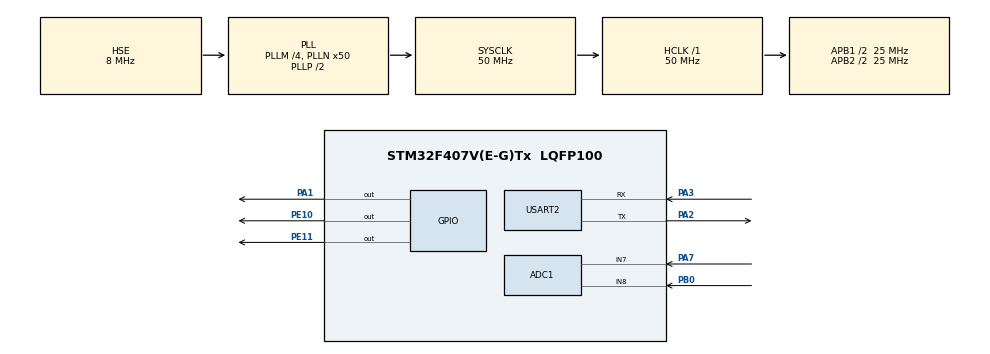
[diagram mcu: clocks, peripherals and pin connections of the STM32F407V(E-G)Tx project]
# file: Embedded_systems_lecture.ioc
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ADC1.Channel-0\#ChannelRegularConversion=ADC_CHANNEL_7
ADC1.Channel-2\#ChannelRegularConversion=ADC_CHANNEL_7
ADC1.ContinuousConvMode=ENABLE
ADC1.EOCSelection=ADC_EOC_SINGLE_CONV
ADC1.NbrOfConversion=2
ADC1.NbrOfConversionFlag=1
ADC1.Rank-0\#ChannelRegularConversion=1
ADC1.Rank-2\#ChannelRegularConversion=2
ADC1.SamplingTime-0\#ChannelRegularConversion=ADC_SAMPLETIME_144CYCLES
ADC1.SamplingTime-2\#ChannelRegularConversion=ADC_SAMPLETIME_3CYCLES
ADC1.master=1
Mcu.Family=STM32F4
Mcu.Name=STM32F407V(E-G)Tx
Mcu.Package=LQFP100
NVIC.ADC_IRQn=true\:2\:0\:true\:false\:true\:true\:true\:true
NVIC.PriorityGroup=NVIC_PRIORITYGROUP_4
NVIC.TIM7_IRQn=true\:0\:0\:false\:false\:true\:true\:true\:true
NVIC.USART2_IRQn=true\:1\:0\:true\:false\:true\:true\:true\:true
PA1.GPIO_PuPd=GPIO_PULLDOWN
PA1.Signal=GPIO_Output
PA2.Mode=Asynchronous
PA2.Signal=USART2_TX
PA3.Mode=Asynchronous
PA3.Signal=USART2_RX
PA7.Signal=ADCx_IN7
PB0.Signal=ADCx_IN8
PE10.Signal=GPIO_Output
PE11.Signal=GPIO_Output
PH0-OSC_IN.Mode=HSE-External-Oscillator
PH0-OSC_IN.Signal=RCC_OSC_IN
PH1-OSC_OUT.Mode=HSE-External-Oscillator
PH1-OSC_OUT.Signal=RCC_OSC_OUT
ProjectManager.HeapSize=0x200
ProjectManager.StackSize=0x400
ProjectManager.TargetToolchain=STM32CubeIDE
RCC.48MHZClocksFreq_Value=25000000
RCC.AHBFreq_Value=50000000
RCC.APB1CLKDivider=RCC_HCLK_DIV2
RCC.APB1Freq_Value=25000000
RCC.APB1TimFreq_Value=50000000
RCC.APB2CLKDivider=RCC_HCLK_DIV2
RCC.APB2Freq_Value=25000000
RCC.APB2TimFreq_Value=50000000
RCC.CortexFreq_Value=50000000
RCC.HCLKFreq_Value=50000000
RCC.HSE_VALUE=8000000
RCC.HSI_VALUE=16000000
RCC.LSE_VALUE=32768
RCC.PLLM=4
RCC.PLLN=50
RCC.PLLSourceVirtual=RCC_PLLSOURCE_HSE
RCC.SYSCLKFreq_VALUE=50000000
RCC.SYSCLKSource=RCC_SYSCLKSOURCE_PLLCLK
RCC.VCOOutputFreq_Value=100000000
SH.ADCx_IN7.0=ADC1_IN7,IN7
SH.ADCx_IN8.0=ADC1_IN8,IN8
TIM6.Period=0xffff-1
TIM6.Prescaler=50-1
TIM7.Period=50000-1
TIM7.Prescaler=60000-1
USART2.VirtualMode=VM_ASYNC
VP_TIM6_VS_ClockSourceINT.Mode=Enable_Timer
VP_TIM7_VS_ClockSourceINT.Mode=Enable_Timer
board=custom

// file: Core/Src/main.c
/* USER CODE BEGIN Header */
/**
  ******************************************************************************
  * @file           : main.c
  * @brief          : Main program body
  ******************************************************************************
  * @attention
  *
  * Copyright (c) 2025 STMicroelectronics.
  * All rights reserved.
  *
  * This software is licensed under terms that can be found in the LICENSE file
  * in the root directory of this software component.
  * If no LICENSE file comes with this software, it is provided AS-IS.
  *
  ******************************************************************************
  */
/* USER CODE END Header */
#include "main.h"

ADC_HandleTypeDef hadc1;

TIM_HandleTypeDef htim6;
TIM_HandleTypeDef htim7;

UART_HandleTypeDef huart2;

/* USER CODE BEGIN PV */
uint8_t Rx_data[8];
uint8_t watering_time;
uint8_t instant_watering_time = 1;
uint8_t waiting_time;
char message[3];
uint32_t channel1, channel2;
/* USER CODE END PV */

void SystemClock_Config(void);
static void MX_GPIO_Init(void);
static void MX_TIM6_Init(void);
static void MX_USART2_UART_Init(void);
static void MX_ADC1_Init(void);
static void MX_TIM7_Init(void);

/* USER CODE BEGIN 0 */
/* Mikrosaniye mertebesinde bekleme yapan fonksiyonu tanimla */
void delay (uint16_t time)
{
	/* Timer sayacini sifirla */
	__HAL_TIM_SET_COUNTER(&htim6, 0);
	/* Sayac fonksiyona girilen degere ulasana kadar bekle */
	while ((__HAL_TIM_GET_COUNTER(&htim6))<time);
}

/* DHT sensorundan gelen verileri okumak icin degiskenleri olustur */
uint8_t Rh_byte1, Rh_byte2, Temp_byte1, Temp_byte2;
uint16_t SUM, RH, TEMP;

float Temperature = 0;
float Humidity = 0;
uint8_t Presence = 0;

/* Istenilen pini output olarak ayarlamak icin gerekli fonksiyonu tanimla */
void Set_Pin_Output (GPIO_TypeDef *GPIOx, uint16_t GPIO_Pin)
{
	GPIO_InitTypeDef GPIO_InitStruct = {0};
	GPIO_InitStruct.Pin = GPIO_Pin;
	GPIO_InitStruct.Mode = GPIO_MODE_OUTPUT_PP;
	GPIO_InitStruct.Speed = GPIO_SPEED_FREQ_LOW;
	HAL_GPIO_Init(GPIOx, &GPIO_InitStruct);
}

/* Istenilen pini input olarak ayarlamak icin gerekli fonksiyonu tanimla */
void Set_Pin_Input (GPIO_TypeDef *GPIOx, uint16_t GPIO_Pin)
{
	GPIO_InitTypeDef GPIO_InitStruct = {0};
	GPIO_InitStruct.Pin = GPIO_Pin;
	GPIO_InitStruct.Mode = GPIO_MODE_INPUT;
	GPIO_InitStruct.Pull = GPIO_NOPULL;
	HAL_GPIO_Init(GPIOx, &GPIO_InitStruct);
}

/* DHT sicaklik ve nem sensorunun bagli oldugu pin ve portu tanimla */
#define DHT11_PORT GPIOA
#define DHT11_PIN GPIO_PIN_1

/* DHT sensorunun yanit vermesi icin gerekli verileri gonderecek fonksiyonu tanimla */
void DHT11_Start (void)
{
	/* DHT ye bagli pini output olarak ayarla */
	Set_Pin_Output (DHT11_PORT, DHT11_PIN);
	/* Pine logic low degeri gonder */
	HAL_GPIO_WritePin (DHT11_PORT, DHT11_PIN, 0);
	/* DHT satasheet inde belirtildigi uzere 18ms bekle */
	delay (18000);
	/* Pine logic high degeri gonder */
    HAL_GPIO_WritePin (DHT11_PORT, DHT11_PIN, 1);
    /* 20 mikrosaniye bekle */
	delay (20);
	/* DHT ye bagli pini input olarak ayarla */
	Set_Pin_Input(DHT11_PORT, DHT11_PIN);
}

/* DHT sensorunun yanitini kontrol edecek fonksiyonu tanimla */
uint8_t DHT11_Check_Response (void)
{
	uint8_t Response = 0;
	/* 40 mikrosaniye bekle */
	delay (40);
	/* Pin degeri logic low olursa asagida verilenleri yap */
	if (!(HAL_GPIO_ReadPin (DHT11_PORT, DHT11_PIN)))
	{
		/* 80 mikrosaniye bekle */
		delay (80);
		/* Alinan yaniti degiskene kaydet */
		if ((HAL_GPIO_ReadPin (DHT11_PORT, DHT11_PIN))) Response = 1;
		else Response = -1;
	}
	/* Pin degeri logic low olana kadar bekle */
	while ((HAL_GPIO_ReadPin (DHT11_PORT, DHT11_PIN)));

	/* Yanit degerini geri dondur */
	return Response;
}

/* DHT sensorunden gelen verileri okuyacak fonksiyonu tanimla */
uint8_t DHT11_Read (void)
{
	/* Gerekli degiskenleri tanimla */
	uint8_t i,j;
	for (j=0;j<8;j++)
	{
		/* Pin degeri logic low olana kadar bekle */
		while (!(HAL_GPIO_ReadPin (DHT11_PORT, DHT11_PIN)));
		/* 40 mikrosaniye bekle */
		delay (40);
		/* Pin degeri logic low olursa asagida verilenleri yap */
		if (!(HAL_GPIO_ReadPin (DHT11_PORT, DHT11_PIN)))
		{
			/* Logic low degeri geldiginde dongu degerine gore biti kaydirip logic and ile kaydet */
			i&= ~(1<<(7-j));
		}
		/* Logic high degeri geldiginde dongu degerine gore biti kaydirip logic or ile kaydet */
		else i|= (1<<(7-j));
		/* Pin degeri logic high olana kadar bekle */
		while ((HAL_GPIO_ReadPin (DHT11_PORT, DHT11_PIN)));
	}
	/* Elde edilen degeri geri dondur */
	return i;
}
/* USER CODE END 0 */

int main(void)
{

  /* MCU Configuration--------------------------------------------------------*/

  /* Reset of all peripherals, Initializes the Flash interface and the Systick. */
  HAL_Init();

  /* Configure the system clock */
  SystemClock_Config();

  /* Initialize all configured peripherals */
  MX_GPIO_Init();
  MX_TIM6_Init();
  MX_USART2_UART_Init();
  MX_ADC1_Init();
  MX_TIM7_Init();
  /* USER CODE BEGIN 2 */
  /* Timer, uart kesmesi ve adc kesmesini baslat */
  HAL_TIM_Base_Start(&htim6);
  HAL_UART_Receive_IT(&huart2, Rx_data, 3);
  HAL_ADC_Start_IT(&hadc1);

  /* Role pinlerini logic high seviyesine al */
  HAL_GPIO_WritePin(GPIOE, GPIO_PIN_10|GPIO_PIN_11, GPIO_PIN_SET);

  /* USER CODE END 2 */

  /* Infinite loop */
  while (1)
  {

    /* USER CODE BEGIN 3 */
	    /* DHT sensorunu baslat */
	    DHT11_Start();
	    /* Sensor yanitini kontrol et */
	    Presence = DHT11_Check_Response();
	    /* Gelen sicaklik ve nem degerlerini degiskenlere kaydet */
	    Rh_byte1 = DHT11_Read ();
	    Rh_byte2 = DHT11_Read ();
	    Temp_byte1 = DHT11_Read ();
	    Temp_byte2 = DHT11_Read ();

	    /* 1,5sn bekle */
	   	HAL_Delay(1500);

	   	/* Gonderilen verilerin anlasilmasi icin basina veriye ozel byte degeri ekle */
		message[0] = 123;
		/* Integer bolmesi yaparak iki basamakli degerin onlar basamagini diziye kaydet */
		message[1] = (channel1 / 10);
		/* Mod alarak iki basamakli degerin onlar basamagini diziye kaydet */
		message[2] = (channel1 % 10);

		/* 1,5sn bekle */
		HAL_Delay(1500);

		/* Diziyi UART ile ESP tarafina gonder */
		HAL_UART_Transmit(&huart2, (uint8_t*)message, 3, HAL_MAX_DELAY);

		/* Gonderilen verilerin anlasilmasi icin basina veriye ozel byte degeri ekle */
		message[0] = 124;
		/* Integer bolmesi yaparak iki basamakli degerin onlar basamagini diziye kaydet */
		message[1] = (channel2 / 10);
		/* Mod alarak iki basamakli degerin onlar basamagini diziye kaydet */
		message[2] = (channel2 % 10);

		/* Diziyi UART ile ESP tarafina gonder */
		HAL_UART_Transmit(&huart2, (uint8_t*)message, 3, HAL_MAX_DELAY);

		/* 1,5sn bekle */
	   	HAL_Delay(1500);
	   	HAL_ADC_Start_IT(&hadc1);

	   	/* Gonderilen verilerin anlasilmasi icin basina veriye ozel byte degeri ekle */
	   	message[0] = 125;
	   	/* Integer bolmesi yaparak iki basamakli degerin onlar basamagini diziye kaydet */
	   	message[1] = (Rh_byte1 / 10);
	   	/* Mod alarak iki basamakli degerin onlar basamagini diziye kaydet */
	   	message[2] = (Rh_byte1 % 10);

	   	/* 1,5sn bekle */
	   	HAL_Delay(1500);

	   	/* Diziyi UART ile ESP tarafina gonder */
	   	HAL_UART_Transmit(&huart2, (uint8_t*)message, 3, HAL_MAX_DELAY);

	   	/* Gonderilen verilerin anlasilmasi icin basina veriye ozel byte degeri ekle */
		message[0] = 126;
		/* Integer bolmesi yaparak iki basamakli degerin onlar basamagini diziye kaydet */
		message[1] = (Temp_byte1 / 10);
		/* Mod alarak iki basamakli degerin onlar basamagini diziye kaydet */
		message[2] = (Temp_byte1 % 10);

		/* Diziyi UART ile ESP tarafina gonder */
	    HAL_UART_Transmit(&huart2, (uint8_t*)message, 3, HAL_MAX_DELAY);

	    /* UART kesmesini tekrardan aktiflestir */
	    HAL_UART_Receive_IT(&huart2, Rx_data, 3);
  }
  /* USER CODE END 3 */
}

void SystemClock_Config(void)
{
  RCC_OscInitTypeDef RCC_OscInitStruct = {0};
  RCC_ClkInitTypeDef RCC_ClkInitStruct = {0};

  /** Configure the main internal regulator output voltage
  */
  __HAL_RCC_PWR_CLK_ENABLE();
  __HAL_PWR_VOLTAGESCALING_CONFIG(PWR_REGULATOR_VOLTAGE_SCALE1);

  /** Initializes the RCC Oscillators according to the specified parameters
  * in the RCC_OscInitTypeDef structure.
  */
  RCC_OscInitStruct.OscillatorType = RCC_OSCILLATORTYPE_HSE;
  RCC_OscInitStruct.HSEState = RCC_HSE_ON;
  RCC_OscInitStruct.PLL.PLLState = RCC_PLL_ON;
  RCC_OscInitStruct.PLL.PLLSource = RCC_PLLSOURCE_HSE;
  RCC_OscInitStruct.PLL.PLLM = 4;
  RCC_OscInitStruct.PLL.PLLN = 50;
  RCC_OscInitStruct.PLL.PLLP = RCC_PLLP_DIV2;
  RCC_OscInitStruct.PLL.PLLQ = 4;
  if (HAL_RCC_OscConfig(&RCC_OscInitStruct) != HAL_OK)
  {
    Error_Handler();
  }

  /** Initializes the CPU, AHB and APB buses clocks
  */
  RCC_ClkInitStruct.ClockType = RCC_CLOCKTYPE_HCLK|RCC_CLOCKTYPE_SYSCLK
                              |RCC_CLOCKTYPE_PCLK1|RCC_CLOCKTYPE_PCLK2;
  RCC_ClkInitStruct.SYSCLKSource = RCC_SYSCLKSOURCE_PLLCLK;
  RCC_ClkInitStruct.AHBCLKDivider = RCC_SYSCLK_DIV1;
  RCC_ClkInitStruct.APB1CLKDivider = RCC_HCLK_DIV2;
  RCC_ClkInitStruct.APB2CLKDivider = RCC_HCLK_DIV2;

  if (HAL_RCC_ClockConfig(&RCC_ClkInitStruct, FLASH_LATENCY_1) != HAL_OK)
  {
    Error_Handler();
  }
}

static void MX_ADC1_Init(void)
{

  ADC_ChannelConfTypeDef sConfig = {0};

  /** Configure the global features of the ADC (Clock, Resolution, Data Alignment and number of conversion)
  */
  hadc1.Instance = ADC1;
  hadc1.Init.ClockPrescaler = ADC_CLOCK_SYNC_PCLK_DIV2;
  hadc1.Init.Resolution = ADC_RESOLUTION_12B;
  hadc1.Init.ScanConvMode = ENABLE;
  hadc1.Init.ContinuousConvMode = ENABLE;
  hadc1.Init.DiscontinuousConvMode = DISABLE;
  hadc1.Init.ExternalTrigConvEdge = ADC_EXTERNALTRIGCONVEDGE_NONE;
  hadc1.Init.ExternalTrigConv = ADC_SOFTWARE_START;
  hadc1.Init.DataAlign = ADC_DATAALIGN_RIGHT;
  hadc1.Init.NbrOfConversion = 2;
  hadc1.Init.DMAContinuousRequests = DISABLE;
  hadc1.Init.EOCSelection = ADC_EOC_SINGLE_CONV;
  if (HAL_ADC_Init(&hadc1) != HAL_OK)
  {
    Error_Handler();
  }

  /** Configure for the selected ADC regular channel its corresponding rank in the sequencer and its sample time.
  */
  sConfig.Channel = ADC_CHANNEL_7;
  sConfig.Rank = 1;
  sConfig.SamplingTime = ADC_SAMPLETIME_144CYCLES;
  if (HAL_ADC_ConfigChannel(&hadc1, &sConfig) != HAL_OK)
  {
    Error_Handler();
  }

  /** Configure for the selected ADC regular channel its corresponding rank in the sequencer and its sample time.
  */
  sConfig.Channel = ADC_CHANNEL_8;
  sConfig.Rank = 2;
  if (HAL_ADC_ConfigChannel(&hadc1, &sConfig) != HAL_OK)
  {
    Error_Handler();
  }

}

static void MX_TIM6_Init(void)
{

  TIM_MasterConfigTypeDef sMasterConfig = {0};

  htim6.Instance = TIM6;
  htim6.Init.Prescaler = 50-1;
  htim6.Init.CounterMode = TIM_COUNTERMODE_UP;
  htim6.Init.Period = 0xffff-1;
  htim6.Init.AutoReloadPreload = TIM_AUTORELOAD_PRELOAD_DISABLE;
  if (HAL_TIM_Base_Init(&htim6) != HAL_OK)
  {
    Error_Handler();
  }
  sMasterConfig.MasterOutputTrigger = TIM_TRGO_RESET;
  sMasterConfig.MasterSlaveMode = TIM_MASTERSLAVEMODE_DISABLE;
  if (HAL_TIMEx_MasterConfigSynchronization(&htim6, &sMasterConfig) != HAL_OK)
  {
    Error_Handler();
  }

}

static void MX_TIM7_Init(void)
{

  TIM_MasterConfigTypeDef sMasterConfig = {0};

  htim7.Instance = TIM7;
  htim7.Init.Prescaler = 60000-1;
  htim7.Init.CounterMode = TIM_COUNTERMODE_UP;
  htim7.Init.Period = 50000-1;
  htim7.Init.AutoReloadPreload = TIM_AUTORELOAD_PRELOAD_DISABLE;
  if (HAL_TIM_Base_Init(&htim7) != HAL_OK)
  {
    Error_Handler();
  }
  sMasterConfig.MasterOutputTrigger = TIM_TRGO_RESET;
  sMasterConfig.MasterSlaveMode = TIM_MASTERSLAVEMODE_DISABLE;
  if (HAL_TIMEx_MasterConfigSynchronization(&htim7, &sMasterConfig) != HAL_OK)
  {
    Error_Handler();
  }

}

static void MX_USART2_UART_Init(void)
{

  huart2.Instance = USART2;
  huart2.Init.BaudRate = 115200;
  huart2.Init.WordLength = UART_WORDLENGTH_8B;
  huart2.Init.StopBits = UART_STOPBITS_1;
  huart2.Init.Parity = UART_PARITY_NONE;
  huart2.Init.Mode = UART_MODE_TX_RX;
  huart2.Init.HwFlowCtl = UART_HWCONTROL_NONE;
  huart2.Init.OverSampling = UART_OVERSAMPLING_16;
  if (HAL_UART_Init(&huart2) != HAL_OK)
  {
    Error_Handler();
  }

}

static void MX_GPIO_Init(void)
{
  GPIO_InitTypeDef GPIO_InitStruct = {0};

  /* GPIO Ports Clock Enable */
  __HAL_RCC_GPIOH_CLK_ENABLE();
  __HAL_RCC_GPIOA_CLK_ENABLE();
  __HAL_RCC_GPIOB_CLK_ENABLE();
  __HAL_RCC_GPIOE_CLK_ENABLE();

  /*Configure GPIO pin Output Level */
  HAL_GPIO_WritePin(GPIOA, GPIO_PIN_1, GPIO_PIN_RESET);

  /*Configure GPIO pin Output Level */
  HAL_GPIO_WritePin(GPIOE, GPIO_PIN_10|GPIO_PIN_11, GPIO_PIN_RESET);

  /*Configure GPIO pin : PA1 */
  GPIO_InitStruct.Pin = GPIO_PIN_1;
  GPIO_InitStruct.Mode = GPIO_MODE_OUTPUT_PP;
  GPIO_InitStruct.Pull = GPIO_PULLDOWN;
  GPIO_InitStruct.Speed = GPIO_SPEED_FREQ_LOW;
  HAL_GPIO_Init(GPIOA, &GPIO_InitStruct);

  /*Configure GPIO pins : PE10 PE11 */
  GPIO_InitStruct.Pin = GPIO_PIN_10|GPIO_PIN_11;
  GPIO_InitStruct.Mode = GPIO_MODE_OUTPUT_PP;
  GPIO_InitStruct.Pull = GPIO_NOPULL;
  GPIO_InitStruct.Speed = GPIO_SPEED_FREQ_LOW;
  HAL_GPIO_Init(GPIOE, &GPIO_InitStruct);

}

/* USER CODE BEGIN 4 */
void HAL_ADC_ConvCpltCallback(ADC_HandleTypeDef* hadc)
{
    /* Conversion modda pinleri okumak icin static sayac degiskenini olustur */
	static uint8_t counter = 1;
	if(counter == 0)
	{
		/* 12 bitlik adc degerini yuzde olarak hesaplayip channel1 degiskenine kaydet */
		channel1 = 100 - ((HAL_ADC_GetValue(&hadc1)*10)/409);
		counter = 1;
	}
	else
	{
		/* 12 bitlik adc degerini yuzde olarak hesaplayip channel2 degiskenine kaydet */
		channel2 = 100 - ((HAL_ADC_GetValue(&hadc1)*10)/409);
		counter = 0;
	}
}

void HAL_UART_RxCpltCallback(UART_HandleTypeDef *huart)
{
	/* interrupti tekrardan aktiflestir */
	HAL_UART_Receive_IT(&huart2, Rx_data, 3);
	/* hangi limit oldugunu kontrol et */
	if((Rx_data[0] - '0') == 1)
	{
		/* char dan int e donustur */
		/*watering_time = (Rx_data[1] - '0') * 10;
		watering_time += (Rx_data[2] - '0');*/
	}
	else if((Rx_data[0] - '0') == 2)
	{
		/* char dan int e donustur */
		/*waiting_time = (Rx_data[1] - '0') * 10;
		waiting_time += (Rx_data[2] - '0');
		if(waiting_time != 0)
		{
			__HAL_TIM_CLEAR_IT(&htim7, TIM_IT_UPDATE);
			__HAL_TIM_SET_COUNTER(&htim7, 0);
			HAL_TIM_Base_Start_IT(&htim7);
		}*/
	}
	else if((Rx_data[0] - '0') == 3)
	{
		/* char dan int e donustur */
		/*instant_watering_time = (Rx_data[1] - '0') * 10;
		instant_watering_time += (Rx_data[2] - '0');*/
	}
	else if((Rx_data[0] - '0') == 4)
	{
		if((Rx_data[1] - '0') == 1)
		{
			//do instant watering
			/*HAL_GPIO_WritePin(GPIOE, GPIO_PIN_10, GPIO_PIN_RESET);
			HAL_Delay(instant_watering_time * 1000);
			HAL_GPIO_WritePin(GPIOE, GPIO_PIN_10, GPIO_PIN_SET);*/
		}
		else
		{
			//do nothing
		}
		if((Rx_data[2] - '0') == 1)
		{
			//turn on fan
			//HAL_GPIO_WritePin(GPIOE, GPIO_PIN_11, GPIO_PIN_RESET);
		}
		else
		{
			//turn off fan
			//HAL_GPIO_WritePin(GPIOE, GPIO_PIN_11, GPIO_PIN_SET);
		}
	}

	//HAL_UART_Receive_IT(&huart2, Rx_data, 3);
}

void HAL_TIM_PeriodElapsedCallback(TIM_HandleTypeDef *htim)
{
	//HAL_GPIO_WritePin(GPIOE, GPIO_PIN_11, GPIO_PIN_SET);
	waiting_time--;
	if(waiting_time <= 0)
	{
		__HAL_TIM_CLEAR_IT(&htim7, TIM_IT_UPDATE);
		__HAL_TIM_SET_COUNTER(&htim7, 0);
		HAL_TIM_Base_Stop_IT(&htim7);
	}
}
/* USER CODE END 4 */

void Error_Handler(void)
{
  __disable_irq();
  while (1)
  {
  }
}
